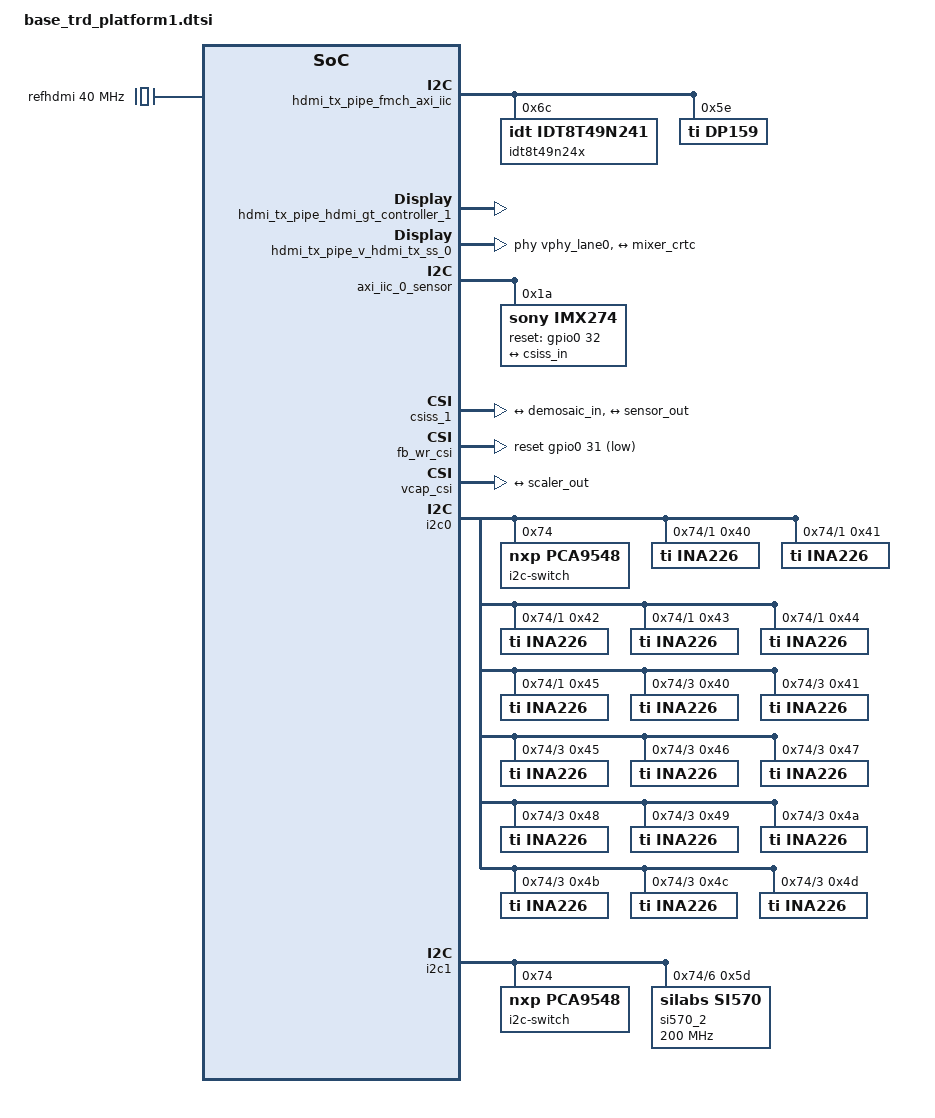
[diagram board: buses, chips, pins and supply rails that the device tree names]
#include <dt-bindings/media/xilinx-vip.h>

&i2c0 {
	i2c-switch@74 {
        compatible = "nxp,pca9548";
        status = "okay";
        #address-cells = <1>;
        #size-cells = <0>;
        reg = <0x74>;

        i2c@0 { /* pmbus 0 */
            #address-cells = <1>;
            #size-cells = <0>;
            reg = <0>;
        };
        i2c@1 { /* pmbus 1 */
            #address-cells = <1>;
            #size-cells = <0>;
            reg = <1>;

            ina226@40 { /* vccint */
                compatible = "ti,ina226";
                reg = <0x40>;
                shunt-resistor = <500>;
            };

            ina226@41 { /* vcc soc */
                compatible = "ti,ina226";
                reg = <0x41>;
                shunt-resistor = <500>;
            };

            ina226@42 { /* vcc pmc */
                compatible = "ti,ina226";
                reg = <0x42>;
                shunt-resistor = <5000>;
            };

            ina226@43 { /* vcc ram */
                compatible = "ti,ina226";
                reg = <0x43>;
                shunt-resistor = <5000>;
            };

            ina226@44 { /* vcc pslp */
                compatible = "ti,ina226";
                reg = <0x44>;
                shunt-resistor = <5000>;
            };

            ina226@45 { /* vcc psfp */
                compatible = "ti,ina226";
                reg = <0x45>;
                shunt-resistor = <5000>;
            };
        };
        i2c@2 {
            #address-cells = <1>;
            #size-cells = <0>;
            reg = <2>;
        };
        i2c@3 { /* pmbus 3 */
            #address-cells = <1>;
            #size-cells = <0>;
            reg = <3>;

            ina226@40 { /* vccaux */
                compatible = "ti,ina226";
                reg = <0x40>;
                shunt-resistor = <5000>;
            };

            ina226@41 { /* vccaux pmc */
                compatible = "ti,ina226";
                reg = <0x41>;
                shunt-resistor = <5000>;
            };

            ina226@45 { /* vcco mio */
                compatible = "ti,ina226";
                reg = <0x45>;
                shunt-resistor = <5000>;
            };

            ina226@46 { /* vcc 1v8 */
                compatible = "ti,ina226";
                reg = <0x46>;
                shunt-resistor = <5000>;
            };

            ina226@47 { /* vcc 3v3 */
                compatible = "ti,ina226";
                reg = <0x47>;
                shunt-resistor = <5000>;
            };

            ina226@48 { /* vcc 1v2 ddr4 */
                compatible = "ti,ina226";
                reg = <0x48>;
                shunt-resistor = <5000>;
            };

            ina226@49 { /* vcc1v1 lp4 */
                compatible = "ti,ina226";
                reg = <0x49>;
                shunt-resistor = <5000>;
            };

            ina226@4a { /* vadj fmc */
                compatible = "ti,ina226";
                reg = <0x4a>;
                shunt-resistor = <2000>;
            };

            ina226@4b { /* mgtyavcc */
                compatible = "ti,ina226";
                reg = <0x4b>;
                shunt-resistor = <2000>;
            };

            ina226@4c { /* mgtyavtt */
                compatible = "ti,ina226";
                reg = <0x4c>;
                shunt-resistor = <2000>;
            };

            ina226@4d { /* mgty vccaux */
                compatible = "ti,ina226";
                reg = <0x4d>;
                shunt-resistor = <5000>;
            };
        };
        i2c@4 {
            #address-cells = <1>;
            #size-cells = <0>;
            reg = <4>;
        };
        i2c@5 {
            #address-cells = <1>;
            #size-cells = <0>;
            reg = <5>;
        };
        i2c@6 {
            #address-cells = <1>;
            #size-cells = <0>;
            reg = <6>;
        };
        i2c@7 {
            #address-cells = <1>;
            #size-cells = <0>;
            reg = <7>;
        };
    };
};
&i2c1 {
	i2c-switch@74 {
		compatible = "nxp,pca9548";
		#address-cells = <1>;
		#size-cells = <0>;
		reg = <0x74>;

		i2c@6 {
			#address-cells = <1>;
			#size-cells = <0>;
			reg = <6>;
			si570_2: clock-generator@5d {
				#clock-cells = <0>;
				compatible = "silabs,si570";
				reg = <0x5d>;
				temperature-stability = <50>;
				factory-fout = <156250000>;
				clock-frequency = <200000000>;
				clock-output-names = "si570_mgt";
			};
		};
	};
};
/ {
	amba_pl: amba_pl@0 {
		#address-cells = <2>;
		#size-cells = <2>;
		compatible = "simple-bus";
		ranges ;
		misc_clk_0: misc_clk_0 {
			#clock-cells = <0>;
			clock-frequency = <149998499>;
			compatible = "fixed-clock";
		};
		misc_clk_4: misc_clk_4 {
                         #clock-cells = <0>;
                         clock-frequency = <109999083>;
                         compatible = "fixed-clock";
		};
		misc_clk_5: misc_clk_5 {
                         #clock-cells = <0>;
                         clock-frequency = <200000000>;
                         compatible = "fixed-clock";
		};
		misc_clk_6: misc_clk_6 {
                         #clock-cells = <0>;
                         clock-frequency = <149998499>;
                         compatible = "fixed-clock";
		};
		display_pipe_v_mix_0: v_mix@a4270000 {
			clock-names = "ap_clk";
			clocks = <&misc_clk_0>;
			compatible = "xlnx,mixer-4.0";
			interrupt-names = "interrupt";
			interrupt-parent = <&gic>;
			interrupts = <0 86 4>;
			reg = <0x0 0xa4270000 0x0 0x10000>;
			reset-gpios = <&gpio0 26 1>;
			xlnx,bpc = <8>;
			xlnx,dma-addr-width = <32>;
			xlnx,num-layers = <10>;
			xlnx,ppc = <4>;
			crtc_mixer_port: port@0 {
				reg = <0>;
				mixer_crtc: endpoint {
					remote-endpoint = <&hdmi_encoder>;
				};
			};
			xx_mix_master: layer_0 {
				/*dmas = <&v_frmbuf_rd 0>;
				dma-names = "dma0";*/
				xlnx,layer-id = <0>;
				xlnx,layer-max-height = <2160>;
				xlnx,layer-max-width = <3840>;
				/*xlnx,layer-streaming;*/
				xlnx,vformat = "RG24";
			};
			xx_mix_overlay_1: layer_1 {
				xlnx,layer-alpha ;
				xlnx,layer-id = <1>;
				xlnx,layer-max-width = <3840>;
				xlnx,vformat = "BG24";
			};
			xx_mix_overlay_2: layer_2 {
				xlnx,layer-alpha ;
				xlnx,layer-id = <2>;
				xlnx,layer-max-width = <3840>;
				xlnx,vformat = "BG24";
			};
			xx_mix_overlay_3: layer_3 {
				xlnx,layer-alpha ;
				xlnx,layer-id = <3>;
				xlnx,layer-max-width = <3840>;
				xlnx,vformat = "BG24";
			};
			xx_mix_overlay_4: layer_4 {
				xlnx,layer-alpha ;
				xlnx,layer-id = <4>;
				xlnx,layer-max-width = <3840>;
				xlnx,vformat = "BG24";
			};
			xx_mix_overlay_5: layer_5 {
				xlnx,layer-alpha ;
				xlnx,layer-id = <5>;
				xlnx,layer-max-width = <3840>;
				xlnx,vformat = "YUYV";
			};
			xx_mix_overlay_6: layer_6 {
				xlnx,layer-alpha ;
				xlnx,layer-id = <6>;
				xlnx,layer-max-width = <3840>;
				xlnx,vformat = "YUYV";
			};
			xx_mix_overlay_7: layer_7 {
				xlnx,layer-alpha ;
				xlnx,layer-id = <7>;
				xlnx,layer-max-width = <3840>;
				xlnx,vformat = "YUYV";
			};
			xx_mix_overlay_8: layer_8 {
				xlnx,layer-alpha ;
				xlnx,layer-id = <8>;
				xlnx,layer-max-width = <3840>;
				xlnx,vformat = "YUYV";
			};
			xx_mix_overlay_9: layer_9 {
				xlnx,layer-alpha ;
				xlnx,layer-id = <9>;
				xlnx,layer-max-width = <3840>;
				xlnx,vformat = "AR24";
				xlnx,layer-primary;
			};
		};

		refhdmi: refhdmi {
			compatible = "fixed-clock";
			#clock-cells = <0>;
			clock-frequency = <40000000>;
		};

		hdmi_tx_pipe_fmch_axi_iic: i2c@a4070000 {
			#address-cells = <1>;
			#size-cells = <0>;
			clock-names = "s_axi_aclk";
			clocks = <&versal_clk 65>;
			compatible = "xlnx,axi-iic-2.0", "xlnx,xps-iic-2.00.a";
			reg = <0x0 0xa4070000 0x0 0x10000>;
			interrupt-names = "iic2intc_irpt";
			interrupt-parent = <&gic>;
			interrupts = <0 87 4>;

			idt8t49n24x: clock-generator@6c {
				status = "okay";
				compatible = "idt,idt8t49n241";
				#clock-cells = <1>;
				reg = <0x6c>;

				clocks = <&refhdmi>;
				clock-names = "input-xtal";

				settings = [
					09 50 00 60 67 c5 6c 01 03 00 31 00 01 40 00 01 40 00 74 04 00 74 04 77 6d 00 00 00 00 00 00 ff
					ff ff ff 01 3f 00 2e 00 0d 00 00 00 01 00 00 d0 08 00 00 00 00 00 08 00 00 00 00 00 00 44 44 00
					00 00 00 00 00 00 00 00 00 00 00 00 00 00 00 00 00 00 00 00 00 00 00 00 00 00 00 00 00 00 00 00
					00 00 00 00 00 00 00 00 e9 0a 2b 20 00 00 00 0f 00 00 00 0e 00 00 0e 00 00 00 27 00 00 00 00 00
					00 00 00 00 00 00 00 00 00 00 00 00 00 00 00 00 00 00 00 00 00 00 00 00 00 00 00 00 00 00 00 00
					00 00 00 00 00 00 00 00 00 00 00 00 00 00 00 00 00 00 00 00 00 00 00 00 00 00 00 00 00 00 00 00
					00 00 00 00 00 00 00 00 00 00 00 00 00 00 00 00 00 00 00 00 00 00 00 00 00 00 00 00 00 00 00 00
					00 00 00 00 00 00 00 00 00 00 00 00 00 00 00 00 00 00 00 00 00 00 00 00 00 00 00 00 00 00 00 00
					00 00 00 00 00 00 00 00 00 00 00 00 00 00 00 00 00 00 00 00 00 00 00 00 00 00 00 00 00 00 00 00
					00 00 00 00 00 00 00 00 00 00 00 00 00 00 00 00 00 00 00 00 00 00 00 00 00 00 00 00 00 00 00 00
					00 00 00 00 00 00 00 00 00 00 00 00 00 00 00 00 00 00 00 00 00 00 00 00 00 00 00 00 00 00 00 00
					00 00 00 00 00 00 00 00 00 00 00 00 00 00 00 00 00 00 00 00 00 00 00 00 00 00 00 00 00 00 00 00
					00 00 00 00 00 00 00 00 00 00 00 00 00 00 00 00 00 00 00 00 00 00 00 00 00 00 00 00 00 00 00 00
					00 00 00 00 00 00 00 00 00 00 00 00 00 00 00 00 00 00 00 00 00 00 00 00 00 00 00 00 00 00 00 00
					00 00 00 00 00 00 00 00 00 00 00 00 00 00 00 00 00 00 00 00 00 00 00 00 00 00 00 00 00 00 00 00
					00 00 00 00 00 00 00 00 00 00 00 00 00 00 00 00 00 00 00 00 00 00 00 00 00 00 00 00 00 00 00 00
					e3 00 08 01 00 00 00 00 00 00 00 00 00 b0 00 00 00 0a 00 00 00 00 00 00 00 00 00 00 00 00 00 00
					00 00 00 00 00 00 00 00 00 00 00 00 00 00 00 00 00 00 00 00 00 00 00 00 00 00 00 00 00 00 00 00
					00 00 00 00 00 00 00 00 00 00 00 00 00 00 00 00 00 00 00 00 00 00 00 00 00 00 00 00 00 00 00 00
					00 00 00 00 00 00 00 00 00 00 00 00 00 00 00 00 00 00 00 00 00 00 00 00 00 00 00 00 00 00 00 00
					00 00 00 00 00 00 00 00 00 00 00 00 00 00 00 00 00 00 00 00 00 00 00 00 00 00 00 00 00 00 00 00
					00 00 00 00 00 00 00 00 00 00 00 00 00 00 00 00 00 00 00 00 00 00 00 00 00 00 00 00 00 00 00 00
					00 00 00 00 00 00 00 00 00 00 00 00 00 00 00 00 00 00 00 00 00 00 00 00 00 00 00 00 00 00 00 00
					00 00 00 00 00 00 00 00 00 00 00 00 00 00 00 00 00 00 00 00 00 00 00 00 00 00 00 00 00 00 00 00
					00 00 00 00 85 00 00 9c 01 d4 02 71 07 00 00 00 00 83 00 10 02 08 8c
					];
			};

			dp159: hdmi-retimer@5e {
				status = "okay";
				compatible = "ti,dp159";
				reg = <0x5e>;
				#address-cells = <1>;
				#size-cells = <0>;
				#clock-cells = <0>;
			};
		};
		hdmi_tx_pipe_hdmi_gt_controller_1: hdmi_gt_controller@a4080000 {
			clock-names = "gt_refclk1_odiv2", "sb_aclk", "axi4lite_aclk", "apb_clk", "dru-clk";
			clocks = <&misc_clk_1>, <&versal_clk 65>, <&versal_clk 65>, <&versal_clk 65>, <&si570_2>;
			compatible = "xlnx,hdmi-gt-controller-1.0";
			interrupt-names = "irq";
			interrupt-parent = <&gic>;
			interrupts = <0 84 4>;
			reg = <0x0 0xa4080000 0x0 0x10000>;
			xlnx,axi4lite-enable = "true";
			xlnx,component-name = "exdes_hdmi_gt_controller_1_0";
			xlnx,device = "xcvc1902";
			xlnx,dru-gain-g1 = <0x9>;
			xlnx,dru-gain-g1-p = <0x10>;
			xlnx,dru-gain-g2 = <0x4>;
			xlnx,dru-refclk-fabric-buffer = "none";
			xlnx,dru-refclk-freq-mhz = "400.00";
			xlnx,err-irq-en = <0x0>;
			xlnx,for-upgrade-architecture = "versal";
			xlnx,for-upgrade-device = "xc10M45";
			xlnx,for-upgrade-package = "vsva2148";
			xlnx,for-upgrade-part = "xc10M45-vsva2148-3-e-es1";
			xlnx,for-upgrade-speedgrade = "-1LP";
			xlnx,gt-debug-port-en = <0x1>;
			xlnx,hdmi-fast-switch = <0x0>;
			xlnx,input-pixels-per-clock = <0x4>;
			xlnx,int-hdmi-ver-cmptble = <0x3>;
			xlnx,nidru = <0x1>;
			xlnx,nidru-refclk-sel = <0x2>;
			xlnx,rx-frl-refclk-sel = <0x2>;
			xlnx,rx-gt-debug-ports = "false";
			xlnx,rx-no-of-channels = <0x4>;
			xlnx,rx-outclk-buffer = "none";
			xlnx,rx-pll-selection = <0x8>;
			xlnx,rx-protocol = <0x3>;
			xlnx,rx-raw-mode-en = "false";
			xlnx,rx-refclk-sel = <0x0>;
			xlnx,rx-sb-ports = "true";
			xlnx,rx-tmds-clk-buffer = "bufg";
			xlnx,rx-video-clk-buffer = "bufg";
			xlnx,silicon-revision = <0x0>;
			xlnx,sim-level = <0x0>;
			xlnx,speedgrade = "-1LP";
			xlnx,supportlevel = <0x1>;
			xlnx,transceivercontrol = "false";
			xlnx,tx-frl-refclk-sel = <0x2>;
			xlnx,tx-gt-debug-ports = "false";
			xlnx,tx-no-of-channels = <0x4>;
			xlnx,tx-outclk-buffer = "none";
			xlnx,tx-pll-selection = <0x7>;
			xlnx,tx-protocol = <0x1>;
			xlnx,tx-raw-mode-en = "false";
			xlnx,tx-refclk-fabric-buffer = "none";
			xlnx,tx-refclk-sel = <0x1>;
			xlnx,tx-sb-ports = "true";
			xlnx,tx-tmds-clk-buffer = "bufg";
			xlnx,tx-video-clk-buffer = "bufg";
			xlnx,txpi-port-en = "false";
			xlnx,txrefclk-rdy-invert = <0x1>;
			xlnx,use-gt-ch4-hdmi = <0x1>;
			xlnx,use-oddr-for-tmds-clkout = "true";
			xlnx,vid-phy-axi4lite-addr-width = <0xa>;
			xlnx,vid-phy-axi4lite-data-width = <0x20>;
			xlnx,vid-phy-control-sb-rx-tdata-width = <0x1>;
			xlnx,vid-phy-control-sb-tx-tdata-width = <0x1>;
			xlnx,vid-phy-rx-axi4s-ch-int-tdata-width = <0x28>;
			xlnx,vid-phy-rx-axi4s-ch-tdata-width = <0x28>;
			xlnx,vid-phy-rx-axi4s-ch-tuser-width = <0x1>;
			xlnx,vid-phy-status-sb-rx-tdata-width = <0x1>;
			xlnx,vid-phy-status-sb-tx-tdata-width = <0x2>;
			xlnx,vid-phy-tx-axi4s-ch-int-tdata-width = <0x28>;
			xlnx,vid-phy-tx-axi4s-ch-tdata-width = <0x28>;
			xlnx,vid-phy-tx-axi4s-ch-tuser-width = <0x1>;

			xlnx,transceiver-type = <7>;
			xlnx,transceiver-width = <4>;
			xlnx,tx-buffer-bypass = <1>;

			vphy_lane0: vphy_lane@0 {
				#phy-cells = <4>;
			};
			vphy_lane1: vphy_lane@1 {
				#phy-cells = <4>;
			};
			vphy_lane2: vphy_lane@2 {
				#phy-cells = <4>;
			};
			vphy_lane3: vphy_lane@3 {
				#phy-cells = <4>;
			};
		};

		misc_clk_1: misc_clk_1 {
			#clock-cells = <0>;
			clock-frequency = <100000000>;
			compatible = "fixed-clock";
		};

		hdmi_tx_pipe_v_hdmi_tx_ss_0: v_hdmi_tx_ss@a4020000 {
			clock-names = "s_axi_cpu_aclk", "s_axis_audio_aclk", "video_clk", "s_axis_video_aclk", "txref-clk", "retimer-clk";
			clocks = <&versal_clk 65>, <&misc_clk_0>, <&misc_clk_3>, <&misc_clk_0>, <&idt8t49n24x 2>, <&dp159>;
			compatible = "xlnx,v-hdmi-tx-ss-3.1", "xlnx,v-hdmi-tx-ss-3.1";
			interrupt-names = "irq";
			interrupt-parent = <&gic>;
			interrupts = <0 85 4>;
			phy-names = "hdmi-phy0", "hdmi-phy1", "hdmi-phy2", "hdmi-phy3";
			phys = <&vphy_lane0 0 1 1 1>, <&vphy_lane1 0 1 1 1>, <&vphy_lane2 0 1 1 1>, <&vphy_lane3 0 1 1 1>;
			reg = <0x0 0xa4020000 0x0 0x20000>;
			reg-names = "hdmi-txss";
			xlnx,input-pixels-per-clock = <4>;
			xlnx,max-bits-per-component = <8>;

			hdmitx_ports: ports {
				#address-cells = <1>;
				#size-cells = <0>;
				encoder_hdmi_port: port@0 {
					reg = <0>;
					hdmi_encoder: endpoint {
						remote-endpoint = <&mixer_crtc>;
					};
				};
			};
		};

		misc_clk_3: misc_clk_3 {
			#clock-cells = <0>;
			clock-frequency = <297000000>;
			compatible = "fixed-clock";
		};

		axi_iic_0_sensor: i2c@a4040000 {
			#address-cells = <1>;
			#size-cells = <0>;
			compatible = "xlnx,axi-iic-2.0", "xlnx,xps-iic-2.00.a";
		        interrupt-names = "iic2intc_irpt";
			interrupt-parent = <&gic>;
			interrupts = <0 89 4>;
			reg = <0x0 0xa4040000 0x0 0x10000>;
		        clock-names = "s_axi_aclk";
			clocks = <&misc_clk_4>;

			imx274: sensor@1a{
					compatible = "sony,imx274";
					reg = <0x1a>;
					#address-cells = <1>;
					#size-cells = <0>;
					reset-gpios = <&gpio0 32 0>;

					port@0 {
						reg = <0>;

						sensor_out: endpoint {
							remote-endpoint = <&csiss_in>;
						};
					};
				};
		};

		csiss_1: csiss@a4000000 {
			compatible = "xlnx,mipi-csi2-rx-subsystem-4.0";
			reg = <0x0 0xa4000000 0x0 0x10000>;
			clock-names = "lite_aclk", "dphy_clk_200M", "video_aclk";
			clocks = <&misc_clk_4>, <&misc_clk_5>, <&misc_clk_0>;
			interrupt-parent = <&gic>;
			interrupts = <0 88 4>;

			xlnx,csi-pxl-format = "RAW10";
			xlnx,axis-tdata-width = <0x20>;
			xlnx,max-lanes = <0x4>;
			xlnx,en-active-lanes;
			xlnx,vc = <0x4>;
			xlnx,ppc = <0x4>;
			xlnx,vfb;

			ports {
				#address-cells = <1>;
				#size-cells = <0>;

				port@0 {
					reg = <0>;

					xlnx,video-format = <XVIP_VF_MONO_SENSOR>;
					xlnx,video-width = <8>;
					xlnx,cfa-pattern = "rggb";

					csiss_out: endpoint {
						remote-endpoint = <&demosaic_in>;
					};
				};
				port@1 {
					reg = <1>;

					xlnx,video-format = <XVIP_VF_MONO_SENSOR>;
					xlnx,video-width = <8>;
					xlnx,cfa-pattern = "rggb";

					csiss_in: endpoint {
						data-lanes = <1 2 3 4>;
						remote-endpoint = <&sensor_out>;
					};
				};
			};
		};

		v_demosaic_0: v_demosaic@a4050000 {
			compatible = "xlnx,v-demosaic";
			reg = <0x0 0xa4050000 0x0 0x10000>;
			clocks = <&misc_clk_0>;
			reset-gpios = <&gpio0 27 1>;
			xlnx,max-width = <3840>;
			xlnx,max-height = <2160>;

			ports {
				#address-cells = <1>;
				#size-cells = <0>;

				port@0 {
					reg = <0>;

					xlnx,video-width = <8>;
					xlnx,cfa-pattern = "rggb";

					demosaic_in: endpoint {
						remote-endpoint = <&csiss_out>;
					};
				};

				port@1 {
					reg = <1>;

					xlnx,video-width = <8>;

					demosaic_out: endpoint {
						remote-endpoint = <&gamma_in>;
					};
				};
			};
		};

		gamma_1: v_gamma@a4090000 {
			compatible = "xlnx,v-gamma-lut";
			reg = <0x0 0xa4090000 0x0 0x10000>;
			clocks = <&misc_clk_0>;
			reset-gpios = <&gpio0 28 1>;
			xlnx,max-width = <3840>;
			xlnx,max-height = <2160>;

			ports {
				#address-cells = <1>;
				#size-cells = <0>;

				port@0 {
					reg = <0>;

					xlnx,video-width = <8>;

					gamma_in: endpoint {
						remote-endpoint = <&demosaic_out>;
					};
				};

				port@1 {
					reg = <1>;

					xlnx,video-width = <8>;

					gamma_out: endpoint {
						remote-endpoint = <&csc_in>;
					};
				};
			};
		};

		csc_1: csc@a4010000 {
			compatible = "xlnx,v-vpss-csc";
			reg = <0x0 0xa4010000 0x0 0x10000>;
			clocks = <&misc_clk_0>;
			reset-gpios = <&gpio0 29 1>;
			xlnx,max-width = <3840>;
			xlnx,max-height = <2160>;

			ports {
				#address-cells = <1>;
				#size-cells = <0>;

				port@0 {
					reg = <0>;

					xlnx,video-format = <XVIP_VF_RBG>;
					xlnx,video-width = <8>;

					csc_in: endpoint {
						remote-endpoint = <&gamma_out>;
					};
				};
				port@1 {
					reg = <1>;

					xlnx,video-format = <XVIP_VF_RBG>;
					xlnx,video-width = <8>;

					csc_out: endpoint {
						remote-endpoint = <&scaler_in>;
					};
				};
			};
		};

		scaler_1: scaler@a40c0000 {
			compatible = "xlnx,v-vpss-scaler-2.2";
			reg = <0x0 0xa40c0000 0x0 0x40000>;
			clock-names = "aclk_axis", "aclk_ctrl";
			clocks = <&misc_clk_0>, <&misc_clk_0>;
			xlnx,num-hori-taps = <6>;
			xlnx,num-vert-taps = <6>;
			xlnx,pix-per-clk = <4>;
			reset-gpios = <&gpio0 30 1>;
			xlnx,max-width = <3840>;
			xlnx,max-height = <2160>;

			ports {
				#address-cells = <1>;
				#size-cells = <0>;

				port@0 {
					reg = <0>;
					xlnx,video-format = <XVIP_VF_RBG>;
					xlnx,video-width = <8>;

					scaler_in: endpoint {
						remote-endpoint = <&csc_out>;
					};
				};
				port@1 {
					reg = <1>;
					xlnx,video-format = <XVIP_VF_YUV_422>;
					xlnx,video-width = <8>;

					scaler_out: endpoint {
						remote-endpoint = <&vcap_csi_in>;
					};
				};
			};
		};

		fb_wr_csi: fb_wr@a4060000 {
			compatible = "xlnx,axi-frmbuf-wr-v2.1";
			reg = <0x0 0xa4060000 0x0 0x10000>;
			#dma-cells = <1>;
			interrupt-parent = <&gic>;
			interrupts = <0 90 4>;
			xlnx,vid-formats = "yuyv", "bgr888";
			reset-gpios = <&gpio0 31 1>;
			xlnx,dma-addr-width = <32>;
			xlnx,pixels-per-clock = <4>;
			xlnx,max-width = <3840>;
			xlnx,max-height = <2160>;
			clocks = <&misc_clk_0>;
			clock-names = "ap_clk";
		};

		vcap_csi {
			compatible = "xlnx,video";
			dmas = <&fb_wr_csi 0>;
			dma-names = "port0";

			ports {
				#address-cells = <1>;
				#size-cells = <0>;

				port@0 {
					reg = <0>;
					direction = "input";

					vcap_csi_in: endpoint {
						remote-endpoint = <&scaler_out>;
					};
				};
			};
		};
	};
};


